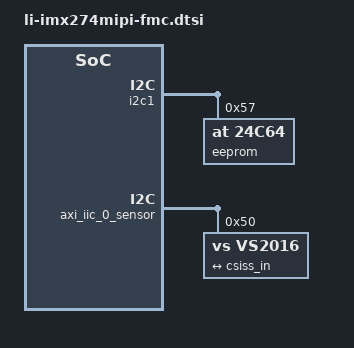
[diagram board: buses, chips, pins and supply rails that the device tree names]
&i2c1 {
	i2cswitch@75 {
		i2c@0 {
			eeprom@50 { /* HPC0_IIC */
				compatible = "at,24c64";
				reg = <0x57>;
			};
		};
	};
};

&axi_iic_0_sensor {
	vs2016: sensor@50 {
		compatible = "vs,vs2016";
		reg = <0x50>;

		#address-cells = <1>;
		#size-cells = <0>;

		port@0 {
			reg = <0>;

			sensor_out: endpoint {
				remote-endpoint = <&csiss_in>;
			};
		};
	};
};
